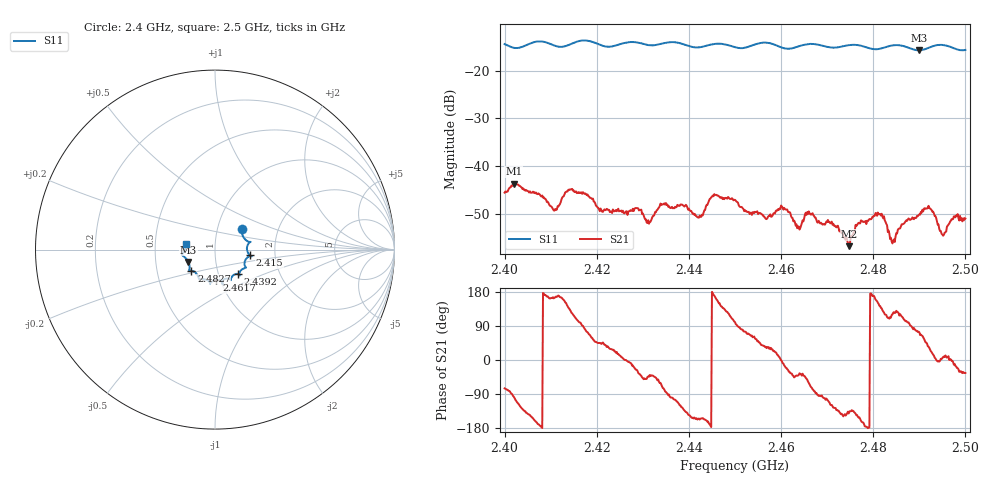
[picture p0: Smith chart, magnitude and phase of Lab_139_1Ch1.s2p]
# Hz S RI R 50
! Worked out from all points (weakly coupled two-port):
!   601 points, 2.4 GHz to 2.5 GHz, reference 50 ohm
!   highest |S21| = -43.69 dB at 2.402 GHz (marker M1); lowest = -56.9 dB at 2.4748 GHz (marker M2)
!   lowest |S11| = -15.7 dB at 2.49 GHz (marker M3), VSWR 1.39, Z = 36.8 - j5.24 ohm
!   |S11| at or under -10 dB: start of sweep to end of sweep
!   S12 and S22 are empty: the file has one direction only
!   S11 on the Smith chart (normalised r, x): 2.4 GHz: 1.31, +0.31; 2.415 GHz: 1.48, -0.10; 2.4392 GHz: 1.24, -0.35; 2.4617 GHz: 0.96, -0.34; 2.4827 GHz: 0.75, -0.18; 2.5 GHz: 0.72, +0.05
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2.4e9  0.1515 0.115  0.00136 -0.00506  0 0  0 0
2.402e9  0.1528 0.0826  -0.000815 -0.00649  0 0  0 0
2.410833e9  0.1817 0.0246  -0.00328 0.000888  0 0  0 0
2.415e9  0.1932 -0.0317  -0.00257 0.00488  0 0  0 0
2.416667e9  0.2034 -0.0382  -0.00036 0.00526  0 0  0 0
2.431167e9  0.1485 -0.1114  0.00195 -0.00185  0 0  0 0
2.433333e9  0.1364 -0.13  0.00222 -0.0028  0 0  0 0
2.439167e9  0.1283 -0.1357  -0.0027 -0.00269  0 0  0 0
2.442167e9  0.0997 -0.1449  -0.00258 -0.00123  0 0  0 0
2.4455e9  0.0884 -0.169  -0.00498 0.00087  0 0  0 0
2.45e9  0.0711 -0.1616  -0.000755 0.00434  0 0  0 0
2.461667e9  0.00777 -0.1698  0.0028 -0.00167  0 0  0 0
2.463667e9  -0.0177 -0.1784  0.00175 -0.00153  0 0  0 0
2.466667e9  -0.0269 -0.1892  0.000897 -0.003  0 0  0 0
2.474833e9  -0.0842 -0.1655  -0.00102 -0.00101  0 0  0 0
2.477167e9  -0.0908 -0.1598  -0.00228 -0.00101  0 0  0 0
2.482667e9  -0.1317 -0.1176  -0.00128 0.00225  0 0  0 0
2.483333e9  -0.1374 -0.117  -0.000772 0.00195  0 0  0 0
2.49e9  -0.1482 -0.0693  0.00089 0.00296  0 0  0 0
2.4925e9  -0.1733 -0.0386  0.00323 0.00139  0 0  0 0
2.495167e9  -0.184 -0.0268  0.00183 0.000247  0 0  0 0
2.5e9  -0.1621 0.0316  0.00232 -0.00158  0 0  0 0
